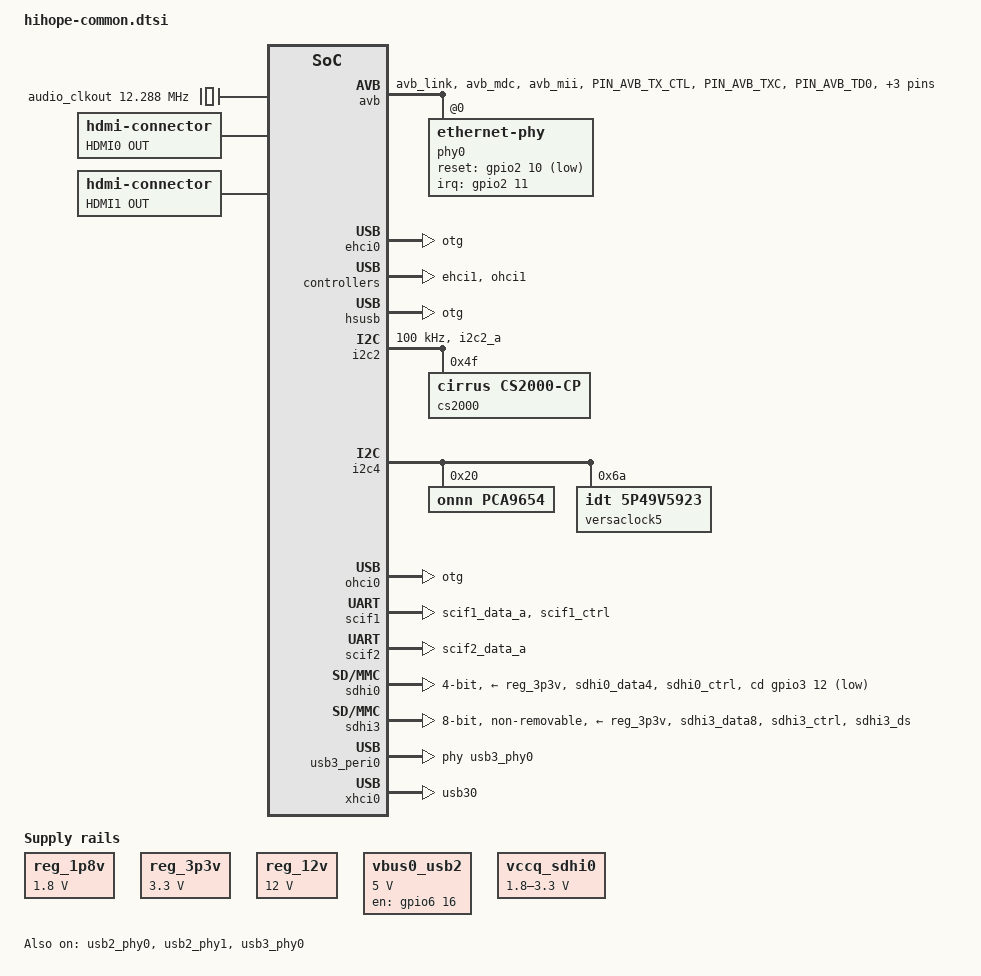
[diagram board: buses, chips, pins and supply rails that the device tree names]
/*
 * Device Tree Source for common parts of HiHope board variants
 *
 * Copyright (C) 2019 Renesas Electronics Corp.
 *
 * This file is licensed under the terms of the GNU General Public License
 * version 2.  This program is licensed "as is" without any warranty of any
 * kind, whether express or implied.
 */

#include <dt-bindings/gpio/gpio.h>

/ {
	aliases {
		serial0 = &scif2;
		serial1 = &scif1;
		ethernet0 = &avb;
	};

	chosen {
		bootargs = "ignore_loglevel rw root=/dev/nfs ip=dhcp";
		stdout-path = "serial0:115200n8";
	};

	audio_clkout: audio-clkout {
		/*
		 * This is same as <&rcar_sound 0>
		 * but needed to avoid cs2000/rcar_sound probe dead-lock
		 */
		compatible = "fixed-clock";
		#clock-cells = <0>;
		clock-frequency = <12288000>;
	};

	reg_1p8v: regulator0 {
		compatible = "regulator-fixed";
		regulator-name = "fixed-1.8V";
		regulator-min-microvolt = <1800000>;
		regulator-max-microvolt = <1800000>;
		regulator-boot-on;
		regulator-always-on;
	};

	reg_3p3v: regulator1 {
		compatible = "regulator-fixed";
		regulator-name = "fixed-3.3V";
		regulator-min-microvolt = <3300000>;
		regulator-max-microvolt = <3300000>;
		regulator-boot-on;
		regulator-always-on;
	};

	reg_12v: regulator2 {
		compatible = "regulator-fixed";
		regulator-name = "fixed-12V";
		regulator-min-microvolt = <12000000>;
		regulator-max-microvolt = <12000000>;
		regulator-boot-on;
		regulator-always-on;
	};

	vbus0_usb2: regulator-vbus0-usb2 {
		compatible = "regulator-fixed";

		regulator-name = "USB20_VBUS0";
		regulator-min-microvolt = <5000000>;
		regulator-max-microvolt = <5000000>;

		gpio = <&gpio6 16 GPIO_ACTIVE_HIGH>;
		enable-active-high;
	};

	vccq_sdhi0: regulator-vccq-sdhi0 {
		compatible = "regulator-gpio";

		regulator-name = "SDHI0 VccQ";
		regulator-min-microvolt = <1800000>;
		regulator-max-microvolt = <3300000>;

		gpios = <&gpio6 30 GPIO_ACTIVE_HIGH>;
		gpios-states = <1>;
		states = <3300000 1
			  1800000 0>;
	};

	hdmi0-out {
		compatible = "hdmi-connector";
		label = "HDMI0 OUT";
		type = "a";

		port {
			hdmi0_con: endpoint {
			};
		};
	};

	hdmi1-out {
		compatible = "hdmi-connector";
		label = "HDMI1 OUT";
		type = "a";

		port {
			hdmi1_con: endpoint {
			};
		};
	};

	x12_clk: x12 {
		compatible = "fixed-clock";
		#clock-cells = <0>;
		clock-frequency = <24576000>;
	};

	/* External DU dot clocks */
	x21_clk: x21-clock {
		compatible = "fixed-clock";
		#clock-cells = <0>;
		clock-frequency = <33000000>;
	};

	x22_clk: x22-clock {
		compatible = "fixed-clock";
		#clock-cells = <0>;
		clock-frequency = <33000000>;
	};

	x23_clk: x23-clock {
		compatible = "fixed-clock";
		#clock-cells = <0>;
		clock-frequency = <25000000>;
	};
};

&audio_clk_a {
	clock-frequency = <22579200>;
};

&avb {
	pinctrl-0 = <&avb_pins>;
	pinctrl-names = "default";
	phy-handle = <&phy0>;
	phy-mode = "rgmii-txid";
	status = "okay";

	phy0: ethernet-phy@0 {
		rxc-skew-ps = <1500>;
		reg = <0>;
		interrupt-parent = <&gpio2>;
		interrupts = <11 IRQ_TYPE_LEVEL_LOW>;
		reset-gpios = <&gpio2 10 GPIO_ACTIVE_LOW>;
	};
};

&ehci0 {
	dr_mode = "otg";
	status = "okay";
};

&ehci1 {
	status = "okay";
};

&extalr_clk {
	clock-frequency = <32768>;
};

&extal_clk {
	clock-frequency = <16640000>;
};

&hsusb {
	dr_mode = "otg";
	status = "okay";
};

&i2c2 {
	pinctrl-0 = <&i2c2_pins>;
	pinctrl-names = "default";

	status = "okay";

	clock-frequency = <100000>;

	cs2000: clk_multiplier@4f {
		#clock-cells = <0>;
		compatible = "cirrus,cs2000-cp";
		reg = <0x4f>;
		clocks = <&audio_clkout>, <&x12_clk>;
		clock-names = "clk_in", "ref_clk";

		assigned-clocks = <&cs2000>;
		assigned-clock-rates = <24576000>; /* 1/1 divide */
	};
};
&i2c4 {
	status = "okay";

	pca9654: gpio@20 {
		compatible = "onnn,pca9654";
		reg = <0x20>;
		gpio-controller;
		#gpio-cells = <2>;
	};

	versaclock5: clock-generator@6a {
		compatible = "idt,5p49v5923";
		reg = <0x6a>;
		#clock-cells = <1>;
		clocks = <&x23_clk>;
		clock-names = "xin";
	};
};

&ohci0 {
	dr_mode = "otg";
	status = "okay";
};

&ohci1 {
	status = "okay";
};

&pfc {
	pinctrl-0 = <&scif_clk_pins>;
	pinctrl-names = "default";

	avb_pins: avb {
		mux {
			groups = "avb_link", "avb_mdc", "avb_mii";
			function = "avb";
		};

		pins_mdc {
			groups = "avb_mdc";
			drive-strength = <24>;
		};

		pins_mii_tx {
			pins = "PIN_AVB_TX_CTL", "PIN_AVB_TXC", "PIN_AVB_TD0",
			       "PIN_AVB_TD1", "PIN_AVB_TD2", "PIN_AVB_TD3";
			drive-strength = <12>;
		};
	};

	i2c2_pins: i2c2 {
		groups = "i2c2_a";
		function = "i2c2";
	};

	scif1_pins: scif1 {
		groups = "scif1_data_a", "scif1_ctrl";
		function = "scif1";
	};

	scif2_pins: scif2 {
		groups = "scif2_data_a";
		function = "scif2";
	};

	scif_clk_pins: scif_clk {
		groups = "scif_clk_a";
		function = "scif_clk";
	};

	sdhi0_pins: sd0 {
		groups = "sdhi0_data4", "sdhi0_ctrl";
		function = "sdhi0";
		power-source = <3300>;
	};

	sdhi0_pins_uhs: sd0_uhs {
		groups = "sdhi0_data4", "sdhi0_ctrl";
		function = "sdhi0";
		power-source = <1800>;
	};

	sdhi3_pins: sd3 {
		groups = "sdhi3_data8", "sdhi3_ctrl", "sdhi3_ds";
		function = "sdhi3";
		power-source = <1800>;
	};

	sdhi3_pins_uhs: sd3_uhs {
		groups = "sdhi3_data8", "sdhi3_ctrl", "sdhi3_ds";
		function = "sdhi3";
		power-source = <1800>;
	};

	usb0_pins: usb0 {
		groups = "usb0";
		function = "usb0";
	};

	usb1_pins: usb1 {
		mux {
			groups = "usb1";
			function = "usb1";
		};

		ovc {
			pins = "GP_6_27";
			bias-pull-up;
		};

		pwen {
			pins = "GP_6_26";
			bias-pull-down;
		};
	};

	usb30_pins: usb30 {
		groups = "usb30";
		function = "usb30";
	};
};

&scif1 {
	pinctrl-0 = <&scif1_pins>;
	pinctrl-names = "default";

	uart-has-rtscts;
	status = "okay";
};

&scif2 {
	pinctrl-0 = <&scif2_pins>;
	pinctrl-names = "default";

	status = "okay";
};

&scif_clk {
	clock-frequency = <14745600>;
};

&sdhi0 {
	pinctrl-0 = <&sdhi0_pins>;
	pinctrl-1 = <&sdhi0_pins_uhs>;
	pinctrl-names = "default", "state_uhs";

	vmmc-supply = <&reg_3p3v>;
	vqmmc-supply = <&vccq_sdhi0>;
	cd-gpios = <&gpio3 12 GPIO_ACTIVE_LOW>;
	bus-width = <4>;
	sd-uhs-sdr12;
	sd-uhs-sdr25;
	sd-uhs-sdr50;
	sd-uhs-sdr104;
	status = "okay";

	max-frequency = <208000000>;
};

&sdhi3 {
	/* used for on-board 8bit eMMC */
	pinctrl-0 = <&sdhi3_pins>;
	pinctrl-1 = <&sdhi3_pins_uhs>;
	pinctrl-names = "default", "state_uhs";

	vmmc-supply = <&reg_3p3v>;
	vqmmc-supply = <&reg_1p8v>;
	bus-width = <8>;
	mmc-hs200-1_8v;
	non-removable;
	fixed-emmc-driver-type = <1>;
	status = "okay";
	max-frequency = <200000000>;
};

&usb_extal_clk {
	clock-frequency = <50000000>;
};

&usb2_phy0 {
	pinctrl-0 = <&usb0_pins>;
	pinctrl-names = "default";

	vbus-supply = <&vbus0_usb2>;
	status = "okay";
};

&usb2_phy1 {
	pinctrl-0 = <&usb1_pins>;
	pinctrl-names = "default";

	status = "okay";
};

&usb3_peri0 {
	phys = <&usb3_phy0>;
	phy-names = "usb";

	status = "okay";
};

&usb3_phy0 {
	status = "okay";
};

&usb3s0_clk {
	clock-frequency = <100000000>;
};

&xhci0 {
	pinctrl-0 = <&usb30_pins>;
	pinctrl-names = "default";

	status = "okay";
};
